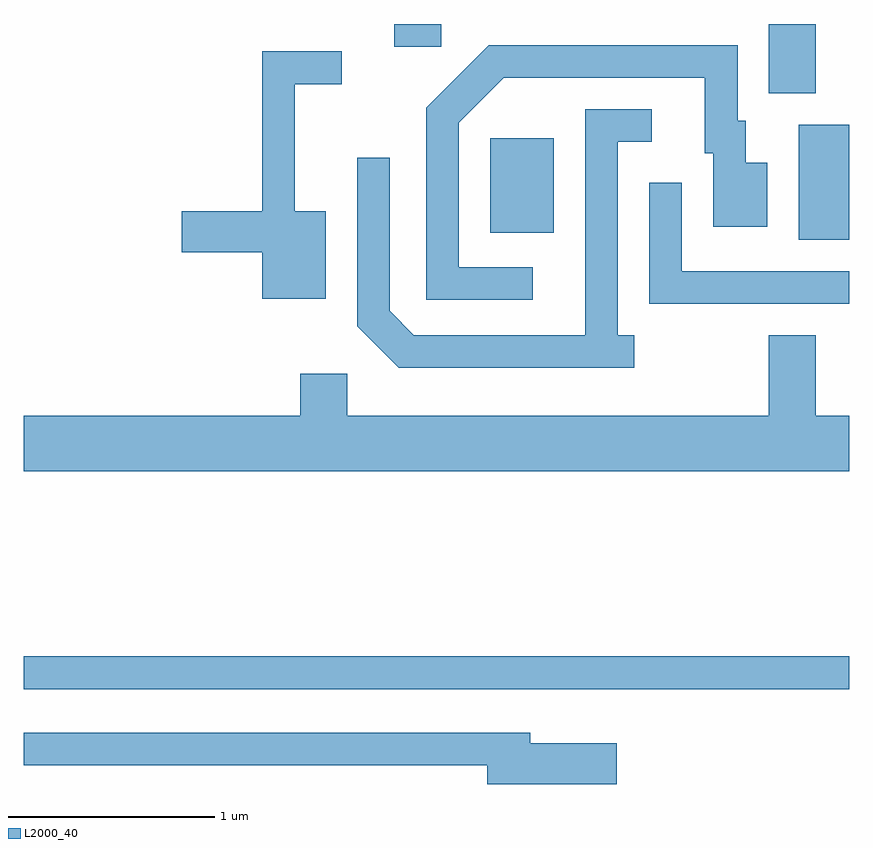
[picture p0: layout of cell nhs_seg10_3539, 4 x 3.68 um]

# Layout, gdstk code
import gdstk
lib = gdstk.Library(unit=1e-6, precision=1e-09)
def R(c, l, rs):  # rectangles x0, y0, x1, y1
    for r in rs: c.add(gdstk.rectangle(r[:2], r[2:], *l))
def P(c, l, *ps):  # polygons
    for p in ps: c.add(gdstk.Polygon(p, *l))
L2000_40 = (2000, 40)

nhs_seg10_3539 = lib.new_cell('nhs_seg10_3539')
R(nhs_seg10_3539, L2000_40, [(289.611,2117.301,293.611,2117.459), (293.366,2119.476,293.611,2120.034), (291.871,2119.511,292.179,2119.969), (293.221,2120.186,293.449,2120.522), (291.406,2120.411,291.634,2120.522)])
P(nhs_seg10_3539, L2000_40, [(292.078,2119.344),(291.719,2119.344),(291.719,2120.044),(291.937,2120.261),(292.911,2120.261),(292.911,2119.896),(292.951,2119.896),(292.951,2119.541),(293.214,2119.541),(293.214,2119.849),(293.109,2119.849),(293.109,2120.054),(293.069,2120.054),(293.069,2120.419),(291.864,2120.419),(291.561,2120.117),(291.561,2119.186),(292.078,2119.186)],
  [(291.074,2119.614),(290.924,2119.614),(290.924,2120.231),(291.153,2120.231),(291.153,2120.389),(290.766,2120.389),(290.766,2119.614),(290.376,2119.614),(290.376,2119.416),(290.766,2119.416),(290.766,2119.191),(291.074,2119.191)],
  [(292.568,2119.014),(292.489,2119.014),(292.489,2119.951),(292.653,2119.951),(292.653,2120.109),(292.331,2120.109),(292.331,2119.014),(291.502,2119.014),(291.384,2119.132),(291.384,2119.873),(291.226,2119.873),(291.226,2119.059),(291.429,2118.856),(292.568,2118.856)],
  [(293.611,2119.324),(292.799,2119.324),(292.799,2119.753),(292.641,2119.753),(292.641,2119.166),(293.611,2119.166)],
  [(293.611,2118.624),(293.449,2118.624),(293.449,2119.014),(293.221,2119.014),(293.221,2118.624),(291.179,2118.624),(291.179,2118.829),(290.951,2118.829),(290.951,2118.624),(289.611,2118.624),(289.611,2118.356),(293.611,2118.356)],
  [(292.484,2117.039),(292.064,2117.039),(292.064,2117.089),(289.611,2117.089),(289.611,2116.931),(291.856,2116.931),(291.856,2116.841),(292.484,2116.841)])

lib.write_gds('nhs_seg10_3539.gds')
